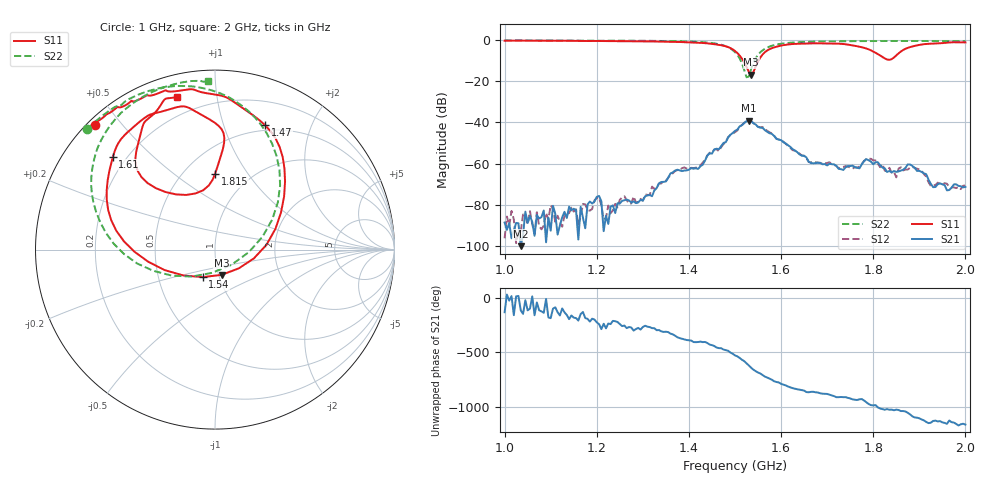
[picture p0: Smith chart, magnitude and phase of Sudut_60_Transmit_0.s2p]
# Hz S RI R 50
! CMT, C1220, 16058040, 17.2.0/1
! Date: 15/08/2018 09:00:43
! Data: Format (Calibration Info)
! Freq  S11: Re/Im (F2)  S21: Re/Im (F2)  S12: Re/Im (F2)  S22: Re/Im (F2)
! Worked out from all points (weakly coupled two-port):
!   201 points, 1 GHz to 2 GHz, reference 50 ohm
!   highest |S21| = -39.07 dB at 1.53 GHz (marker M1); lowest = -100.0 dB at 1.035 GHz (marker M2)
!   lowest |S11| = -16.7 dB at 1.535 GHz (marker M3), VSWR 1.34, Z = 51.6 - j14.9 ohm
!   |S11| at or under -10 dB: 1.518 GHz to 1.551 GHz (33.21 MHz wide, 2.16 % of centre)
!   |S22| runs from -18.1 to -0.2 dB; largest |S21 - S12| = 0.00043
!   S11 on the Smith chart (normalised r, x): 1 GHz: 0.02, +0.42; 1.47 GHz: 0.44, +1.38; 1.54 GHz: 0.83, -0.26; 1.61 GHz: 0.15, +0.38; 1.815 GHz: 0.70, +0.72; 2 GHz: 0.11, +0.78
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1e9  -0.6704 0.6947  -2.52e-05 -2.74e-05  -1.07e-05 1.12e-05  -0.7109 0.6716
1.035e9  -0.6578 0.7142  -4.21e-06 -9.01e-06  -1.18e-05 1.94e-05  -0.6843 0.6975
1.17e9  -0.4981 0.8046  -3.21e-05 -3.76e-05  -0.000102 -2.36e-05  -0.5591 0.7936
1.205e9  -0.4641 0.827  -7.79e-05 0.000145  -0.000116 9.63e-05  -0.5198 0.8059
1.215e9  -0.4569 0.8251  -1.22e-05 1.95e-05  -2.86e-05 3.42e-05  -0.5149 0.8122
1.29e9  -0.3225 0.8683  1.15e-05 0.000114  4e-05 0.000112  -0.4105 0.8696
1.335e9  -0.2515 0.8804  0.000143 0.000303  0.000156 0.000287  -0.3267 0.8952
1.42e9  0.0312 0.8584  0.000528 -0.000527  0.000601 -0.000599  -0.0706 0.9003
1.47e9  0.2785 0.6937  -0.000539 -0.00263  -0.000516 -0.00245  0.221 0.7381
1.5e9  0.3903 0.3792  -0.0061 -0.00137  -0.00569 -0.00136  0.3627 0.3575
1.53e9  0.1332 -0.1043  -0.00206 0.0109  -0.00213 0.0111  -0.016 -0.1296
1.535e9  0.0365 -0.1408  0.00186 0.0106  0.00195 0.0107  -0.1303 -0.1503
1.54e9  -0.0687 -0.1532  0.00442 0.00846  0.00445 0.00851  -0.2422 -0.1446
1.57e9  -0.5501 0.1054  0.00582 -0.000985  0.00614 -0.00111  -0.6399 0.1533
1.61e9  -0.569 0.516  0.000453 -0.00306  0.000279 -0.00305  -0.6725 0.5059
1.67e9  -0.3745 0.7455  -0.000781 -0.000659  -0.00084 -0.000681  -0.5516 0.7308
1.815e9  0.000227 0.4224  0.000352 0.000838  0.000432 0.000699  -0.3025 0.8979
1.835e9  -0.1088 0.3128  0.000372 0.00055  0.000668 0.000429  -0.2743 0.9077
1.85e9  -0.2764 0.321  0.000343 0.000531  0.000213 0.000414  -0.2514 0.9148
1.875e9  -0.4414 0.4731  0.000848 0.00045  0.000666 0.000281  -0.2134 0.9243
1.93e9  -0.3753 0.7269  0.000185 -0.000195  0.000169 -0.000246  -0.1332 0.9391
2e9  -0.21 0.8515  4.9e-05 -0.000268  7.59e-05 -0.000287  -0.0391 0.9418
